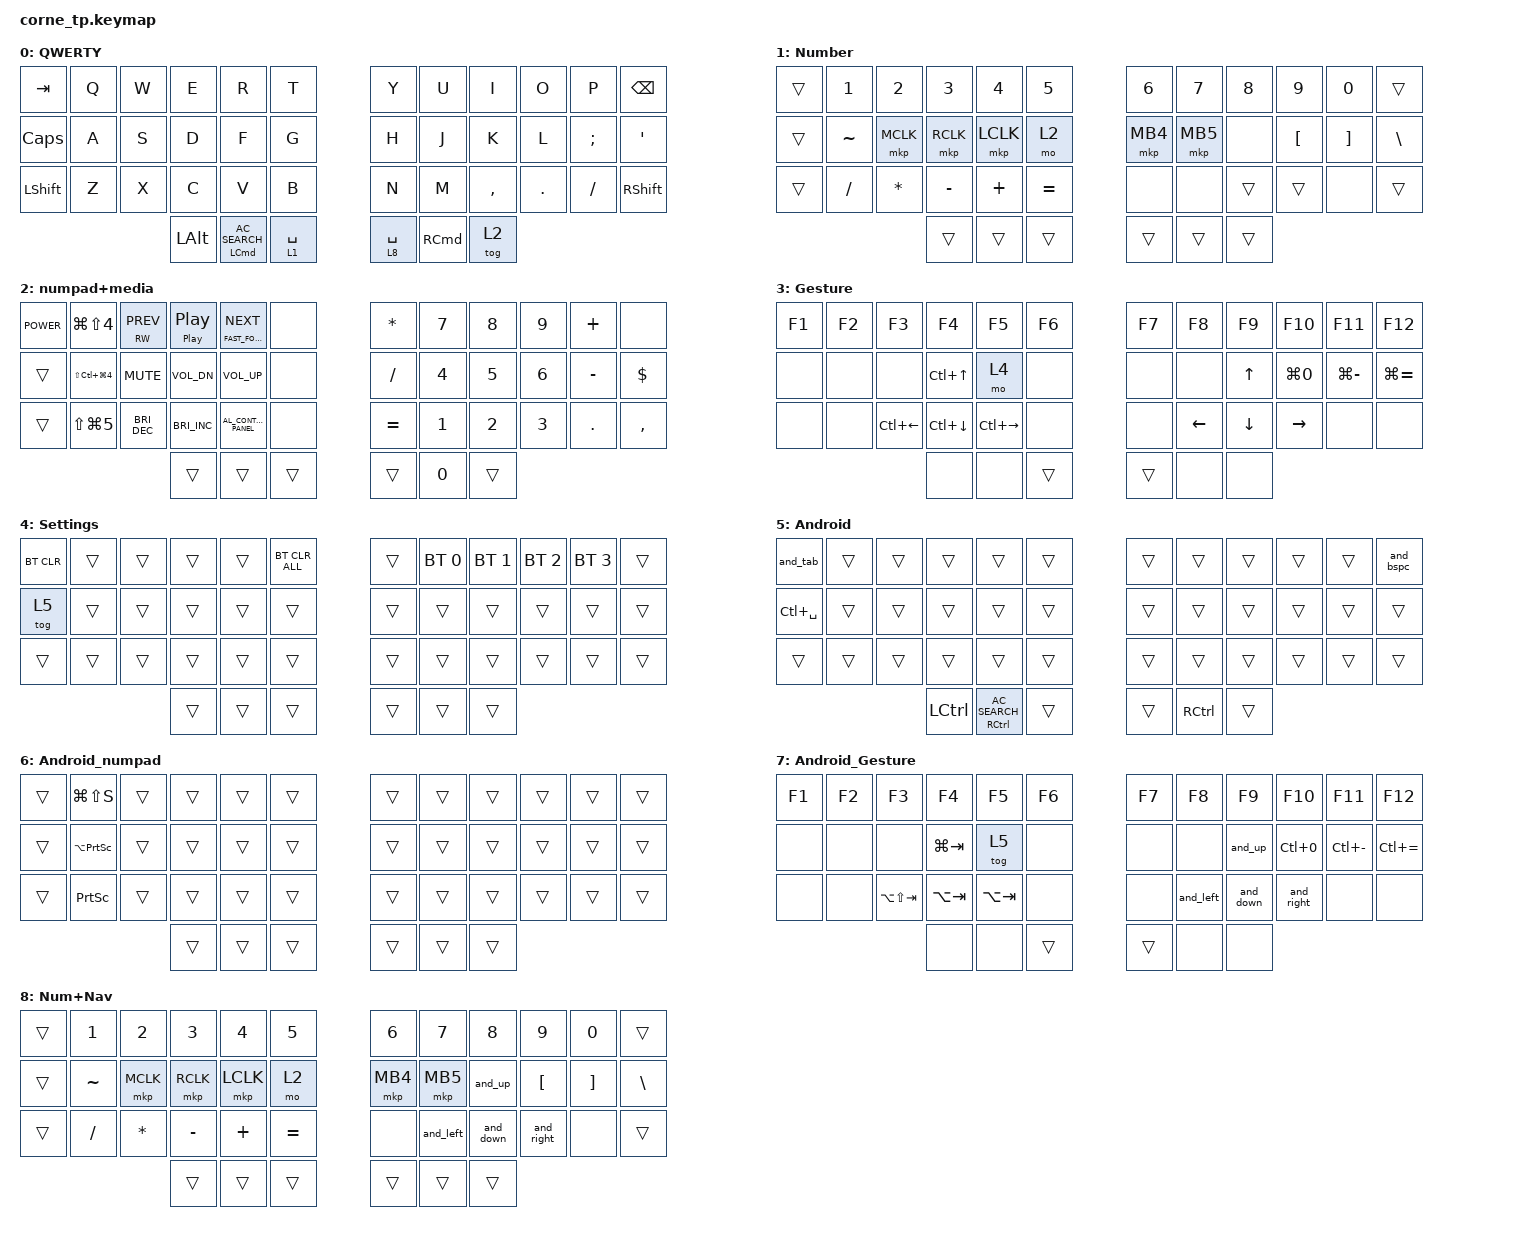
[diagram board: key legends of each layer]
#include <dt-bindings/zmk/mouse.h>
#include <behaviors.dtsi>
#include <dt-bindings/zmk/bt.h>
#include <dt-bindings/zmk/keys.h>
#include <dt-bindings/zmk/pointing.h>

&lt {
    tapping-term-ms = <200>;
    flavor = "balanced";
    quick-tap-ms = <150>;
};

/ {
    chosen {
        zmk,matrix_transform = &default_transform;

        // zmk,matrix_transform = &five_column_transform;
    };
};

/ {
    //  Add tri-layer behavior here

    behaviors {
        tri_layer: sl_layer {
            compatible = "urob,zmk-behavior-simple-layer";
            label = "TRI_LAYER";
            layers = <1 2>;        // These are LWR and RSE layers
            target-layer = <3>;    // Layer 3 will activate when both are held
        };

        // Android "Cmd" morphs. On the Android layer the right-mid thumb holds
        // RIGHT_CONTROL (Ctrl+C/V/Z/A/T/W... == Mac Cmd). Android EditText does
        // line-wise delete/move on ALT, not Ctrl, so while RIGHT_CONTROL is held
        // these morph to the Alt chord and drop the Ctrl. Verified on the Fold 8
        // (One UI, Android 17): Ctrl+Backspace = delete word (Mac Option),
        // Alt+Backspace = delete line (Mac Cmd); Ctrl+Left = word, Alt+Left = line start.
        // RIGHT_CONTROL is never held on the Mac layers, so they are inert there.
        and_bspc: android_cmd_backspace {
            compatible = "zmk,behavior-mod-morph";
            #binding-cells = <0>;
            bindings = <&kp BACKSPACE>, <&kp LA(BACKSPACE)>;
            mods = <(MOD_RCTL)>;
        };

        and_del: android_cmd_delete {
            compatible = "zmk,behavior-mod-morph";
            #binding-cells = <0>;
            bindings = <&kp DELETE>, <&kp LA(DELETE)>;
            mods = <(MOD_RCTL)>;
        };

        and_left: android_cmd_left {
            compatible = "zmk,behavior-mod-morph";
            #binding-cells = <0>;
            bindings = <&kp LEFT_ARROW>, <&kp LA(LEFT_ARROW)>;
            mods = <(MOD_RCTL)>;
        };

        and_right: android_cmd_right {
            compatible = "zmk,behavior-mod-morph";
            #binding-cells = <0>;
            bindings = <&kp RIGHT_ARROW>, <&kp LA(RIGHT_ARROW)>;
            mods = <(MOD_RCTL)>;
        };

        and_up: android_cmd_up {
            compatible = "zmk,behavior-mod-morph";
            #binding-cells = <0>;
            bindings = <&kp UP_ARROW>, <&kp LA(UP_ARROW)>;
            mods = <(MOD_RCTL)>;
        };

        and_down: android_cmd_down {
            compatible = "zmk,behavior-mod-morph";
            #binding-cells = <0>;
            bindings = <&kp DOWN_ARROW>, <&kp LA(DOWN_ARROW)>;
            mods = <(MOD_RCTL)>;
        };

        // Mac Cmd+Tab (app switcher) -> Android Alt+Tab. Shift is not in mods,
        // so Cmd+Shift+Tab stays held through the morph = Alt+Shift+Tab.
        and_tab: android_cmd_tab {
            compatible = "zmk,behavior-mod-morph";
            #binding-cells = <0>;
            bindings = <&kp TAB>, <&kp LA(TAB)>;
            mods = <(MOD_RCTL)>;
        };
    };

    // Android numpad (L6) is a thin overlay that turns on by itself whenever
    // the Mac numpad (L2) is on while Android (L5) is on — so every route to
    // the numpad (right outer thumb, &mo 2 on Number / Num+Nav) gets the
    // Android screenshot keys without separate Android copies of those keys.
    conditional_layers {
        compatible = "zmk,conditional-layers";

        android_numpad {
            if-layers = <2 5>;
            then-layer = <6>;
        };
    };

    combos {
        compatible = "zmk,combos";

        Enter {
            bindings = <&kp ENTER>;
            key-positions = <21 20>;
        };

        backspace {
            bindings = <&and_bspc>;
            key-positions = <8 9>;
        };

        esc {
            bindings = <&kp ESC>;
            key-positions = <2 3>;
        };

        gesture {
            bindings = <&mo 3>;
            key-positions = <38 39>;     // both Space thumbs (inner) -> Mac gesture
            layers = <0 1 2>;        // Mac gesture: only when a Mac base layer is on top
        };

        gesture_android {
            bindings = <&mo 7>;
            key-positions = <38 39>;     // same Space chord -> Android gesture
            layers = <5 6>;          // Android gesture: same chord, fires when Android base/numpad is on top
        };

        backspace2 {
            bindings = <&and_bspc>;
            key-positions = <10 9>;
        };

        enter2 {
            bindings = <&kp ENTER>;
            key-positions = <22 21>;
        };

        esc2 {
            bindings = <&kp ESCAPE>;
            key-positions = <1 2>;
        };

        delete {
            bindings = <&and_del>;
            key-positions = <9 10>;
            layers = <3 7>;
        };

        ctrl_combo {
            bindings = <&kp LCTRL>;
            key-positions = <37 40>;     // both Cmd thumbs (middle) -> Ctrl
        };
    };

    keymap {
        compatible = "zmk,keymap";

        Primary {
            display-name = "QWERTY";
            bindings = <
&kp TAB         &kp Q  &kp W  &kp E        &kp R         &kp T                           &kp Y              &kp U   &kp I        &kp O    &kp P     &kp BSPC
&kp CAPSLOCK    &kp A  &kp S  &kp D        &kp F         &kp G                           &kp H              &kp J   &kp K        &kp L    &kp SEMI  &kp SQT
&kp LEFT_SHIFT  &kp Z  &kp X  &kp C        &kp V         &kp B                           &kp N              &kp M   &kp COMMA    &kp DOT  &kp FSLH  &kp RIGHT_SHIFT
                              &kp LEFT_ALT  &mt LEFT_COMMAND C_AC_SEARCH  &lt 1 SPACE    &lt 8 SPACE  &kp RIGHT_COMMAND  &tog 2
            >;
        };

        Secondary {
            display-name = "Number";
            bindings = <
&trans  &kp NUMBER_1  &kp NUMBER_2  &kp NUMBER_3  &kp NUMBER_4  &kp N5       &kp NUMBER_6  &kp N7    &kp N8  &kp N9            &kp N0             &trans
&trans  &kp TILDE     &mkp MCLK     &mkp RCLK     &mkp LCLK     &mo 2        &mkp MB4      &mkp MB5  &none   &kp LEFT_BRACKET  &kp RIGHT_BRACKET  &kp BACKSLASH
&trans  &kp SLASH     &kp ASTERISK  &kp MINUS     &kp PLUS      &kp EQUAL    &none         &none     &trans  &trans            &none              &trans
                                    &trans        &trans        &trans       &trans        &trans    &trans
            >;
        };

        numpad+media {
            bindings = <
&kp C_POWER  &kp LG(LS(NUMBER_4))      &mt C_RW C_PREV       &mt C_PP C_PP         &mt C_FAST_FORWARD C_NEXT  &none     &kp ASTERISK  &kp N7        &kp N8        &kp N9        &kp PLUS    &none
&trans       &kp LS(LC(LG(NUMBER_4)))  &kp K_MUTE            &kp C_VOL_DN          &kp C_VOLUME_UP            &none     &kp SLASH     &kp NUMBER_4  &kp N5        &kp NUMBER_6  &kp MINUS   &kp DOLLAR
&trans       &kp LS(LG(N5))            &kp C_BRIGHTNESS_DEC  &kp C_BRIGHTNESS_INC  &kp C_AL_CONTROL_PANEL     &none     &kp EQUAL     &kp NUMBER_1  &kp NUMBER_2  &kp NUMBER_3  &kp PERIOD  &kp COMMA
                                                             &trans                &trans                     &trans    &trans        &kp N0        &trans
            >;
        };

        Gesture {
            bindings = <
&kp F1  &kp F2  &kp F3              &kp F4            &kp F5         &kp F6    &kp F7  &kp F8          &kp F9          &kp F10     &kp F11        &kp F12
&none   &none   &none               &kp LC(UP_ARROW)  &mo 4                &none     &none   &none           &kp UP_ARROW    &kp LG(N0)       &kp LG(MINUS)  &kp LG(EQUAL)
&none   &none   &kp LC(LEFT_ARROW)  &kp LC(DOWN_ARROW)  &kp LC(RIGHT_ARROW)  &none     &none   &kp LEFT_ARROW  &kp DOWN_ARROW  &kp RIGHT_ARROW  &none          &none
                                    &none             &none          &trans    &trans  &none           &none
            >;
        };

        Settings {
            bindings = <
&bt BT_CLR  &trans  &trans  &trans  &trans  &bt BT_CLR_ALL    &trans  &bt BT_SEL 0  &bt BT_SEL 1  &bt BT_SEL 2  &bt BT_SEL 3  &trans
&tog 5      &trans  &trans  &trans  &trans  &trans            &trans  &trans        &trans        &trans        &trans        &trans
&trans      &trans  &trans  &trans  &trans  &trans            &trans  &trans        &trans        &trans        &trans        &trans
                            &trans  &trans  &trans            &trans  &trans        &trans
            >;
        };

        // ------------------------------------------------------------------
        // ANDROID SET (Samsung One UI) — L5 overlay + L6 numpad + L7 gesture
        // Enter Android:  Settings (L4) -> &tog 5
        // Leave Android:  Android Gesture (L7) -> &tog 5
        // ------------------------------------------------------------------

        // L5 Android base: a THIN overlay on top of the Mac Primary layer.
        // Everything is transparent (letters/numbers fall through to L0/L1),
        // only the platform-specific thumbs change:
        //   left outer thumb (Mac Option) : LEFT_CONTROL  -> Ctrl+Backspace/arrows = word ops (Mac Option semantics)
        //   left mid thumb   (Mac Cmd)    : hold = RIGHT_CONTROL (Ctrl+C/V/Z/A... = Mac Cmd), tap = Search
        //                                   + and_* mod-morphs turn Ctrl+Backspace/arrows into Alt = line ops
        //   right inner thumb (Space)     : falls through: hold = Num+Nav (L8), same as Mac;
        //                                   Android Gesture (L7) is both Spaces (gesture_android combo)
        //   right outer thumb             : toggles the ANDROID numpad (L6) instead of the Mac one
        //   right mid thumb  (Mac Cmd)    : RIGHT_CONTROL, same as the left Cmd thumb (Mac has two Cmd keys)
        //   right outer thumb             : falls through to &tog 2; L6 overlays it (conditional layer)
        //   Backspace key                 : and_bspc — Cmd+Backspace = delete line (was only on the combos)
        //   Tab                           : and_tab — Cmd+Tab = Alt+Tab app switcher
        //   Caps Lock                     : Ctrl+Space = switch input language (Mac: Caps Lock switches language)
        Android_Base {
            display-name = "Android";
            bindings = <
&and_tab         &trans  &trans  &trans  &trans  &trans                            &trans  &trans  &trans  &trans  &trans  &and_bspc
&kp LC(SPACE)    &trans  &trans  &trans  &trans  &trans                            &trans  &trans  &trans  &trans  &trans  &trans
&trans           &trans  &trans  &trans  &trans  &trans                            &trans  &trans  &trans  &trans  &trans  &trans
                        &kp LEFT_CONTROL  &mt RIGHT_CONTROL C_AC_SEARCH  &trans      &trans       &kp RIGHT_CONTROL  &trans
            >;
        };

        // L6 Android numpad overlay: on automatically when L2 and L5 are both on
        // (conditional_layers). Only the three macOS screenshot keys change;
        // everything else falls through to the Mac numpad (L2).
        //   Cmd+Shift+4 (area)     -> Cmd+Shift+S  = LG(LS(S))  capture selection
        //   Shift+Ctrl+Cmd+4 (clip)-> Alt+PrintScr = LA(PRINTSCREEN)  capture window
        //   Cmd+Shift+5 (toolbar)  -> PrintScr = full-screen screenshot (closest Android has)
        Android_numpad {
            bindings = <
&trans  &kp LG(LS(S))        &trans  &trans  &trans  &trans    &trans  &trans  &trans  &trans  &trans  &trans
&trans  &kp LA(PRINTSCREEN)  &trans  &trans  &trans  &trans    &trans  &trans  &trans  &trans  &trans  &trans
&trans  &kp PRINTSCREEN      &trans  &trans  &trans  &trans    &trans  &trans  &trans  &trans  &trans  &trans
                             &trans  &trans  &trans            &trans  &trans  &trans
            >;
        };

        // L7 Android gesture: mirrors the Mac gesture (L3) with Samsung One UI
        // window/app management in place of macOS Mission Control / Spaces / zoom.
        //   Mission Control (Ctrl+Up)  -> Search+Tab   = LG(TAB)   all apps/windows
        //   Spaces (Ctrl+Left/Right)   -> previous / next app = LA(LS(TAB)) / LA(TAB)
        //   App Expose (Ctrl+Down)     -> Alt+Tab      = LA(TAB)   switch to next app
        //   Zoom (Cmd 0/-/=)           -> Ctrl 0/-/=   browser zoom
        //   Settings access (&mo 4)    -> &tog 5       switch back to the Mac set
        //   Arrows are and_* morphs: plain = arrow, with the Android Cmd thumb (RIGHT_CONTROL)
        //   held = Alt+arrow = line start/end / doc top/bottom (Mac Cmd+arrow semantics)
        Android_Gesture {
            bindings = <
&kp F1  &kp F2  &kp F3       &kp F4      &kp F5         &kp F6    &kp F7  &kp F8          &kp F9          &kp F10     &kp F11        &kp F12
&none   &none   &none              &kp LG(TAB) &tog 5              &none     &none   &none      &and_up    &kp LC(N0)  &kp LC(MINUS)  &kp LC(EQUAL)
&none   &none   &kp LA(LS(TAB))    &kp LA(TAB) &kp LA(TAB)         &none     &none   &and_left  &and_down  &and_right  &none          &none
                             &none       &none          &trans    &trans  &none           &none
            >;
        };

        // L8 Num+Nav: held by the right Space thumb (Mac and Android). Identical
        // to Number (L1) plus plain arrows on K M , . (the Gesture arrow spots).
        // Mission Control / Spaces stay on the Gesture layer (both Spaces) only.
        // Arrows are and_* morphs: plain arrows on Mac; on Android with the Cmd
        // thumb (RIGHT_CONTROL) held they become Alt+arrow = line ops.
        NumNav {
            display-name = "Num+Nav";
            bindings = <
&trans  &kp NUMBER_1  &kp NUMBER_2        &kp NUMBER_3        &kp NUMBER_4         &kp N5       &kp NUMBER_6  &kp N7          &kp N8          &kp N9            &kp N0             &trans
&trans  &kp TILDE     &mkp MCLK           &mkp RCLK           &mkp LCLK            &mo 2        &mkp MB4      &mkp MB5        &and_up         &kp LEFT_BRACKET  &kp RIGHT_BRACKET  &kp BACKSLASH
&trans  &kp SLASH     &kp ASTERISK        &kp MINUS           &kp PLUS             &kp EQUAL    &none         &and_left       &and_down       &and_right        &none              &trans
                                          &trans              &trans               &trans       &trans        &trans          &trans
            >;
        };
    };
};
